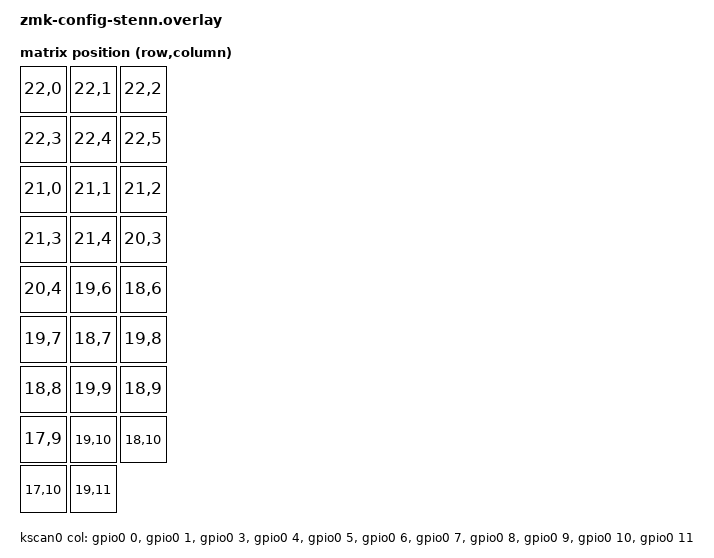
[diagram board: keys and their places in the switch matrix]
/ {
    kscan0: kscan0 {
        compatible = "zmk,kscan-gpio-matrix";
        diode-direction = "col2row";
        wakeup-source;

        col-gpios
            = <&gpio0 0 GPIO_ACTIVE_LOW>
            , <&gpio0 1 GPIO_ACTIVE_LOW>
            , <&gpio0 3 GPIO_ACTIVE_LOW>
            , <&gpio0 4 GPIO_ACTIVE_LOW>
            , <&gpio0 5 GPIO_ACTIVE_LOW>
            , <&gpio0 6 GPIO_ACTIVE_LOW>
            , <&gpio0 7 GPIO_ACTIVE_LOW>
            , <&gpio0 8 GPIO_ACTIVE_LOW>
            , <&gpio0 9 GPIO_ACTIVE_LOW>
            , <&gpio0 10 GPIO_ACTIVE_LOW>
            , <&gpio0 11 GPIO_ACTIVE_LOW>
        
            ;

        row-gpios
            = <&gpio0 22 (GPIO_ACTIVE_LOW>
            , <&gpio0 21 (GPIO_ACTIVE_LOW>
            , <&gpio0 20 (GPIO_ACTIVE_LOW>
            , <&gpio0 19 (GPIO_ACTIVE_LOW>
            , <&gpio0 18 (GPIO_ACTIVE_LOW>
            , <&gpio0 17 (GPIO_ACTIVE_LOW>
            ;
    };
};
#include <dt-bindings/zmk/matrix_transform.h> // Put this with the other includes at the top of your overlay

/ {
    default_transform: keymap_transform0 {
        compatible = "zmk,matrix-transform";
        columns = <3>; // Length of the "col-gpios" array
        rows = <3>; // Length of the "row-gpios" array
        map = <
        //   Key 1 | Key 2 | Key 3
            RC(22,0) RC(22,1) RC(22,2)
        //   Key 4 | Key 5 | Key 6
            RC(22,3) RC(22,4) RC(22,5)
        //   Key 7 | Key 8 | Key 9
            RC(21,0) RC(21,1) RC(21,2)
        //   Key 10 | Key 11 | Key 12
            RC(21,3) RC(21,4) RC(20,3)
        //   Key 13 | Key 14 | Key 15
            RC(20,4) RC(19,6) RC(18,6)
        //   Key 16 | Key 17 | Key 18
            RC(19,7) RC(18,7) RC(19,8)
        //   Key 19 | Key 20 | Key 21
            RC(18,8) RC(19,9) RC(18,9)
        //   Key 22 | Key 23 | Key 24
            RC(17,9) RC(19,10) RC(18,10)
        //   Key 25 | Key 26 | 
            RC(17,10) RC(19,11) 
        >;
    };
};

/ {
    physical_layout0: physical_layout_0 { // First physical layout, use different naming for other layouts
        compatible = "zmk,physical-layout";
        display-name = "Default Layout";
        kscan = <&kscan0>; // Label of the kscan node, optional if all layouts use the same
        transform = <&default_transform>; // Label of the matrix transform for this layout
    };
};
/ {
    chosen {
        zmk,physical-layout = &physical_layout0;
        // Other chosen items
    };
};
